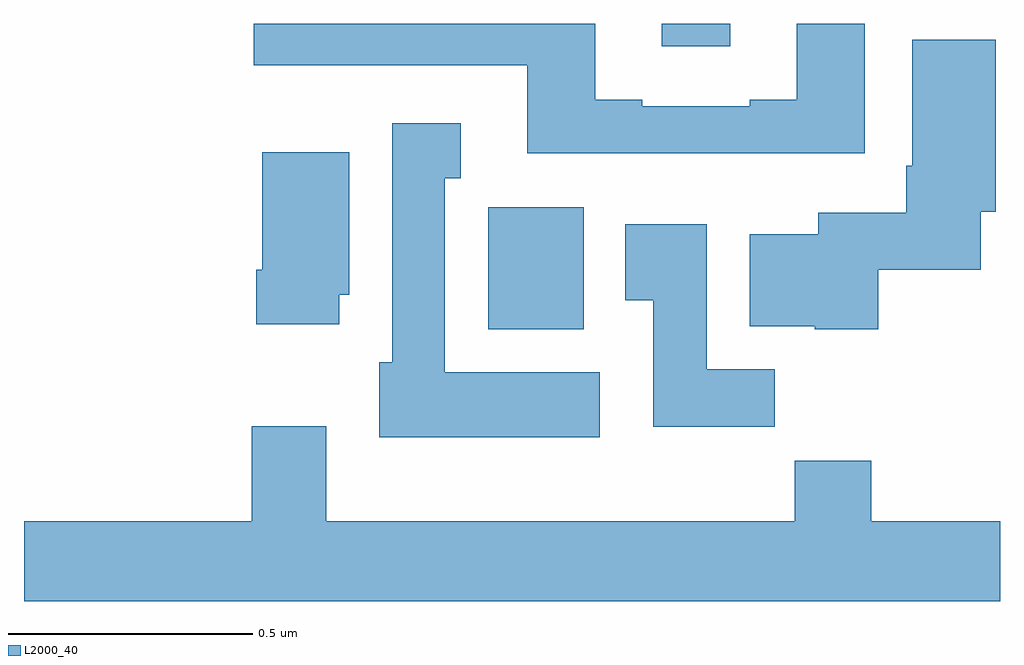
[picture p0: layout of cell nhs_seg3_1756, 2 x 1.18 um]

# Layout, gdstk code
import gdstk
lib = gdstk.Library(unit=1e-6, precision=1e-09)
def R(c, l, rs):  # rectangles x0, y0, x1, y1
    for r in rs: c.add(gdstk.rectangle(r[:2], r[2:], *l))
def P(c, l, *ps):  # polygons
    for p in ps: c.add(gdstk.Polygon(p, *l))
L2000_40 = (2000, 40)

nhs_seg3_1756 = lib.new_cell('nhs_seg3_1756')
R(nhs_seg3_1756, L2000_40, [(132.951,734.774,133.147,735.024), (133.307,735.354,133.447,735.4)])
P(nhs_seg3_1756, L2000_40, [(133.723,735.4),(133.583,735.4),(133.583,735.244),(133.487,735.244),(133.487,735.231),(133.267,735.231),(133.267,735.244),(133.171,735.244),(133.171,735.4),(132.471,735.4),(132.471,735.315),(133.031,735.315),(133.031,735.134),(133.723,735.134)],
  [(133.751,734.896),(133.961,734.896),(133.961,735.014),(133.991,735.014),(133.991,735.367),(133.82,735.367),(133.82,735.109),(133.808,735.109),(133.808,735.012),(133.628,735.012),(133.628,734.968),(133.487,734.968),(133.487,734.78),(133.62,734.78),(133.62,734.774),(133.751,734.774)],
  [(133.18,734.686),(132.862,734.686),(132.862,735.083),(132.895,735.083),(132.895,735.196),(132.755,735.196),(132.755,734.706),(132.728,734.706),(132.728,734.552),(133.18,734.552)],
  [(132.646,734.844),(132.667,734.844),(132.667,735.136),(132.488,735.136),(132.488,734.896),(132.476,734.896),(132.476,734.784),(132.646,734.784)],
  [(133.538,734.692),(133.399,734.692),(133.399,734.989),(133.232,734.989),(133.232,734.833),(133.289,734.833),(133.289,734.574),(133.538,734.574)],
  [(134,734.38),(133.736,734.38),(133.736,734.504),(133.579,734.504),(133.579,734.38),(132.619,734.38),(132.619,734.575),(132.467,734.575),(132.467,734.38),(132,734.38),(132,734.216),(134,734.216)])

lib.write_gds('nhs_seg3_1756.gds')
